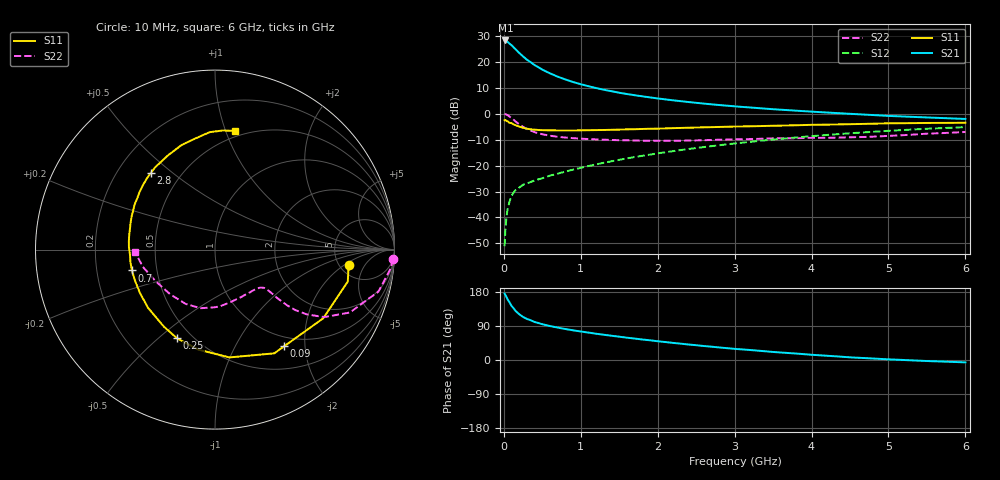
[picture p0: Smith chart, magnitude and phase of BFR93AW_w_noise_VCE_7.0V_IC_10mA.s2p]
! Infineon Technologies  Discrete & RF Semiconductors
! BFR93AW
! VCE =  7.0 V,  IC =  10 mA
! Common Emitter S-Parameters:  Jan 2017
# GHz  S  MA  R  50
!  f  S11  S21  S12  S22
! GHz  MAG  ANG  MAG  ANG  MAG  ANG  MAG  ANG
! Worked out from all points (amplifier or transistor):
!   77 points, 10 MHz to 6 GHz, reference 50 ohm
!   highest |S21| = 28.3 dB at 20 MHz (marker M1)
!   |S21| within 3 dB of that: start of sweep to 139 MHz
!   unconditionally stable (mu >= 1): 864 MHz to 2.091 GHz
!   at 130 MHz: K = 0.30, MSG = 27.9 dB, |S12| = -30.3 dB
!   at 2.2 GHz: K = 0.99, MSG = 9.8 dB, |S12| = -14.4 dB
!   at 6 GHz: K = 0.86, MSG = 1.6 dB, |S12| = -5.1 dB
!   lowest NFmin = 1.25 dB at 450 MHz
!   S11 on the Smith chart (normalised r, x): 10 MHz: 6.00, -2.40; 90 MHz: 0.84, -1.61; 250 MHz: 0.42, -0.58; 700 MHz: 0.36, -0.11; 2.8 GHz: 0.34, +0.42; 6 GHz: 0.45, +1.08
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0.01  0.7495 -6.7  25.69 175.6  0.0028 85.3  0.9936 -3.0
0.02  0.761 -13.5  25.91 171.5  0.0058 90.3  0.9845 -6.1
0.05  0.714 -32.5  24.32 159.5  0.0148 76.9  0.9403 -14.4
0.09  0.6622 -54.5  21.53 146.4  0.0237 65.5  0.8488 -22.7
0.1  0.6656 -60.3  21.04 142.7  0.026 63.9  0.8291 -25.0
0.15  0.606 -82.4  17.69 130.0  0.0337 58.0  0.7157 -31.7
0.2  0.5651 -99.4  14.9 120.8  0.0379 54.3  0.6266 -35.2
0.25  0.5377 -113.1  12.74 113.6  0.0428 51.5  0.5594 -37.0
0.3  0.5155 -123.4  11.03 108.4  0.0454 51.2  0.5076 -37.7
0.4  0.4943 -139.1  8.682 100.3  0.0516 52.7  0.4421 -37.9
0.5  0.4828 -150.4  7.095 94.4  0.0572 54.6  0.4023 -37.6
0.6  0.478 -159.0  6.01 89.6  0.0643 55.6  0.377 -37.5
0.7  0.4772 -165.9  5.195 85.5  0.07 58.1  0.36 -37.5
0.9  0.4747 -176.9  4.092 78.3  0.0836 60.8  0.3389 -38.7
1.1  0.4822 174.5  3.398 72.3  0.0983 63.0  0.3257 -41.0
1.5  0.4954 161.1  2.547 61.5  0.1295 65.0  0.3093 -48.3
2.1  0.5222 145.2  1.894 47.4  0.1813 64.4  0.3014 -64.0
2.8  0.557 130.0  1.474 33.1  0.2472 60.9  0.3163 -84.6
3.1  0.5698 123.9  1.356 27.9  0.2771 58.6  0.3229 -93.0
4.1  0.6146 106.0  1.078 12.5  0.3803 49.0  0.3432 -121.7
5.1  0.6563 91.3  0.897 0.9  0.4779 37.4  0.3804 -155.1
6  0.6707 80.3  0.794 -6.3  0.5533 26.4  0.4454 -178.4
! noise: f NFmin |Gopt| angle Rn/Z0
0.45  1.25  0.15  94  0.13
0.9  1.55  0.24  150  0.14
1.9  2.61  0.47  -148  0.18
2.4  3.24  0.54  -131  0.36
